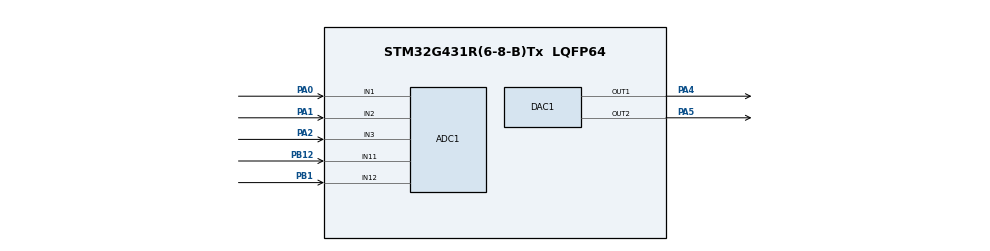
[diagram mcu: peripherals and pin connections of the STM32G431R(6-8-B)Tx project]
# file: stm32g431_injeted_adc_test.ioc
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ADC1.Channel-0\#ChannelRegularConversion=ADC_CHANNEL_1
ADC1.Channel-4\#ChannelRegularConversion=ADC_CHANNEL_2
ADC1.Channel-5\#ChannelRegularConversion=ADC_CHANNEL_3
ADC1.Channel-8\#ChannelRegularConversion=ADC_CHANNEL_11
ADC1.Channel-9\#ChannelRegularConversion=ADC_CHANNEL_12
ADC1.DMAContinuousRequests=ENABLE
ADC1.EOCSelection=ADC_EOC_SEQ_CONV
ADC1.EnableInjectedConversion=ENABLE
ADC1.ExternalTrigConv=ADC_EXTERNALTRIG_T1_TRGO
ADC1.InjNumberOfConversion=2
ADC1.InjectedChannel-6\#ChannelInjectedConversion=ADC_CHANNEL_1
ADC1.InjectedChannel-7\#ChannelInjectedConversion=ADC_CHANNEL_1
ADC1.InjectedOffsetNumber-6\#ChannelInjectedConversion=ADC_OFFSET_NONE
ADC1.InjectedOffsetNumber-7\#ChannelInjectedConversion=ADC_OFFSET_NONE
ADC1.InjectedRank-6\#ChannelInjectedConversion=1
ADC1.InjectedRank-7\#ChannelInjectedConversion=2
ADC1.InjectedSamplingTime-6\#ChannelInjectedConversion=ADC_SAMPLETIME_2CYCLES_5
ADC1.InjectedSamplingTime-7\#ChannelInjectedConversion=ADC_SAMPLETIME_6CYCLES_5
ADC1.NbrOfConversion=5
ADC1.NbrOfConversionFlag=1
ADC1.OffsetNumber-0\#ChannelRegularConversion=ADC_OFFSET_NONE
ADC1.OffsetNumber-4\#ChannelRegularConversion=ADC_OFFSET_NONE
ADC1.OffsetNumber-5\#ChannelRegularConversion=ADC_OFFSET_NONE
ADC1.OffsetNumber-8\#ChannelRegularConversion=ADC_OFFSET_NONE
ADC1.OffsetNumber-9\#ChannelRegularConversion=ADC_OFFSET_NONE
ADC1.Rank-0\#ChannelRegularConversion=1
ADC1.Rank-4\#ChannelRegularConversion=2
ADC1.Rank-5\#ChannelRegularConversion=3
ADC1.Rank-8\#ChannelRegularConversion=4
ADC1.Rank-9\#ChannelRegularConversion=5
ADC1.Rank1_Channel=ADC_CHANNEL_1
ADC1.Rank2_Channel=ADC_CHANNEL_1
ADC1.SamplingTime-0\#ChannelRegularConversion=ADC_SAMPLETIME_2CYCLES_5
ADC1.SamplingTime-4\#ChannelRegularConversion=ADC_SAMPLETIME_2CYCLES_5
ADC1.SamplingTime-5\#ChannelRegularConversion=ADC_SAMPLETIME_2CYCLES_5
ADC1.SamplingTime-8\#ChannelRegularConversion=ADC_SAMPLETIME_2CYCLES_5
ADC1.SamplingTime-9\#ChannelRegularConversion=ADC_SAMPLETIME_2CYCLES_5
ADC1.injectedQueueMode=DISABLE
ADC1.master=1
DAC1.DAC_Channel-DAC_OUT2=DAC_CHANNEL_2
DAC1.DAC_DMADoubleDataMode-DAC_OUT1=DISABLE
DAC1.DAC_HighFrequency_OUT1-DAC_OUT1=DAC_HIGH_FREQUENCY_INTERFACE_MODE_AUTOMATIC
DAC1.DAC_OutputBuffer-DAC_OUT1=DAC_OUTPUTBUFFER_ENABLE
DAC1.DAC_SampleAndHold-DAC_OUT1=DAC_SAMPLEANDHOLD_DISABLE
DAC1.DAC_SignedFormat-DAC_OUT1=DISABLE
DAC1.DAC_Trigger_OUT1-DAC_OUT1=DAC_TRIGGER_T15_TRGO
DAC1.DAC_Trigger_OUT2-DAC_OUT2=DAC_TRIGGER_T8_TRGO
DAC1.DAC_UserTrimming-DAC_OUT1=DAC_TRIMMING_FACTORY
DAC1.TriangleAmplitude_OUT1-DAC_OUT1=DAC_TRIANGLEAMPLITUDE_4095
DAC1.TriangleAmplitude_OUT2-DAC_OUT2=DAC_TRIANGLEAMPLITUDE_4095
DAC1.WaveGeneration_OUT1-DAC_OUT1=TriangleWaveGeneration
DAC1.WaveGeneration_OUT2-DAC_OUT2=TriangleWaveGeneration
Dma.ADC1.0.Direction=DMA_PERIPH_TO_MEMORY
Dma.ADC1.0.EventEnable=DISABLE
Dma.ADC1.0.Instance=DMA1_Channel1
Dma.ADC1.0.MemDataAlignment=DMA_MDATAALIGN_HALFWORD
Dma.ADC1.0.MemInc=DMA_MINC_ENABLE
Dma.ADC1.0.Mode=DMA_CIRCULAR
Dma.ADC1.0.PeriphDataAlignment=DMA_PDATAALIGN_HALFWORD
Dma.ADC1.0.PeriphInc=DMA_PINC_DISABLE
Dma.ADC1.0.Polarity=HAL_DMAMUX_REQ_GEN_RISING
Dma.ADC1.0.Priority=DMA_PRIORITY_LOW
Dma.ADC1.0.RequestNumber=1
Dma.ADC1.0.SignalID=NONE
Dma.ADC1.0.SyncEnable=DISABLE
Dma.ADC1.0.SyncPolarity=HAL_DMAMUX_SYNC_NO_EVENT
Dma.ADC1.0.SyncRequestNumber=1
Dma.ADC1.0.SyncSignalID=NONE
Dma.Request0=ADC1
Mcu.Family=STM32G4
Mcu.Name=STM32G431R(6-8-B)Tx
Mcu.Package=LQFP64
NVIC.ADC1_2_IRQn=true\:0\:0\:false\:false\:true\:true\:true
NVIC.DMA1_Channel1_IRQn=true\:0\:0\:false\:false\:true\:false\:true
NVIC.PriorityGroup=NVIC_PRIORITYGROUP_4
PA0.Mode=IN1-Single-Ended
PA0.Signal=ADC1_IN1
PA1.Mode=IN2-Single-Ended
PA1.Signal=ADC1_IN2
PA2.Mode=IN3-Single-Ended
PA2.Signal=ADC1_IN3
PA4.Signal=COMP_DAC11_group
PA5.Signal=COMP_DAC12_group
PB1.Mode=IN12-Single-Ended
PB1.Signal=ADC1_IN12
PB12.Mode=IN11-Single-Ended
PB12.Signal=ADC1_IN11
ProjectManager.HeapSize=0x200
ProjectManager.StackSize=0x400
ProjectManager.TargetToolchain=MDK-ARM V5
RCC.ADC12CLockSelection=RCC_ADC12CLKSOURCE_PLL
RCC.ADC12Freq_Value=48571428.571428575
RCC.AHBFreq_Value=170000000
RCC.APB1Freq_Value=170000000
RCC.APB1TimFreq_Value=170000000
RCC.APB2Freq_Value=170000000
RCC.APB2TimFreq_Value=170000000
RCC.CortexFreq_Value=170000000
RCC.EXTERNAL_CLOCK_VALUE=12288000
RCC.HCLKFreq_Value=170000000
RCC.HSE_VALUE=8000000
RCC.HSI48_VALUE=48000000
RCC.HSI_VALUE=16000000
RCC.LSE_VALUE=32768
RCC.PLLM=RCC_PLLM_DIV4
RCC.PLLN=85
RCC.PLLP=RCC_PLLP_DIV7
RCC.SYSCLKFreq_VALUE=170000000
RCC.SYSCLKSource=RCC_SYSCLKSOURCE_PLLCLK
RCC.USBFreq_Value=170000000
RCC.VCOOutputFreq_Value=340000000
SH.COMP_DAC11_group.0=DAC1_OUT1,DAC_OUT1
SH.COMP_DAC12_group.0=DAC1_OUT2,DAC_OUT2
TIM1.PeriodNoDither=10
TIM1.Prescaler=100
TIM1.TIM_MasterOutputTrigger=TIM_TRGO_UPDATE
TIM15.PeriodNoDither=1000
TIM15.Prescaler=10
TIM15.TIM_MasterOutputTrigger=TIM_TRGO_UPDATE
TIM8.PeriodNoDither=1200
TIM8.Prescaler=150
TIM8.TIM_MasterOutputTrigger=TIM_TRGO_UPDATE
VP_SYS_VS_DBSignals.Mode=DisableDeadBatterySignals
VP_TIM15_VS_ClockSourceINT.Mode=Internal
VP_TIM1_VS_ClockSourceINT.Mode=Internal
VP_TIM8_VS_ClockSourceINT.Mode=Internal
board=custom

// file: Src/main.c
/* USER CODE BEGIN Header */
/**
  ******************************************************************************
  * @file           : main.c
  * @brief          : Main program body
  ******************************************************************************
  * @attention
  *
  * <h2><center>&copy; Copyright (c) 2020 STMicroelectronics.
  * All rights reserved.</center></h2>
  *
  * This software component is licensed by ST under BSD 3-Clause license,
  * the "License"; You may not use this file except in compliance with the
  * License. You may obtain a copy of the License at:
  *                        opensource.org/licenses/BSD-3-Clause
  *
  ******************************************************************************
  */
/* USER CODE END Header */

#include "main.h"
#include "adc.h"
#include "dac.h"
#include "dma.h"
#include "tim.h"
#include "gpio.h"

/* USER CODE BEGIN PM */
#define VAR_CONVERTED_DATA_INIT_VALUE    (__LL_ADC_DIGITAL_SCALE(LL_ADC_RESOLUTION_12B) + 1)
/* USER CODE END PM */

/* USER CODE BEGIN PV */
static uint16_t aDST_Buffer[5];
__IO uint16_t uhADCxGrpInjectedConvertedSeq = 0;
__IO uint16_t uhADCxGrpInjectedConvertedData[2] = {VAR_CONVERTED_DATA_INIT_VALUE, VAR_CONVERTED_DATA_INIT_VALUE}; /* ADC group injected conversion data */
/* USER CODE END PV */

void SystemClock_Config(void);
/* USER CODE BEGIN PFP */
void Initialize_ADC(void);
void Activate_DAC(void);
/* USER CODE END PFP */

int main(void)
{

  /* MCU Configuration--------------------------------------------------------*/

  /* Reset of all peripherals, Initializes the Flash interface and the Systick. */
  HAL_Init();

  /* Configure the system clock */
  SystemClock_Config();

  /* Initialize all configured peripherals */
  MX_GPIO_Init();
  MX_DMA_Init();
  MX_ADC1_Init();
  MX_DAC1_Init();
  MX_TIM1_Init();
  MX_TIM8_Init();
  MX_TIM15_Init();
  /* USER CODE BEGIN 2 */
	LL_TIM_EnableCounter(TIM1);
	LL_TIM_EnableCounter(TIM15);
	LL_TIM_EnableCounter(TIM8);

	Initialize_ADC();
	Activate_DAC();
	if ((LL_ADC_IsEnabled(ADC1) == 1) &&(LL_ADC_IsDisableOngoing(ADC1) == 0)&&(LL_ADC_REG_IsConversionOngoing(ADC1) == 0))
  {
		LL_ADC_DisableIT_EOC(ADC1);
    LL_ADC_DisableIT_EOS(ADC1);
		LL_ADC_EnableIT_JEOS(ADC1);
    LL_ADC_REG_StartConversion(ADC1);
  }
	else
	{
		Error_Handler();
	}

	/* Set DMA transfer addresses of source and destination */
	LL_DMA_ConfigAddresses(DMA1,
											 LL_DMA_CHANNEL_1,
											 (uint32_t)&ADC1->DR,
											 (uint32_t)&aDST_Buffer,
											 LL_DMA_DIRECTION_PERIPH_TO_MEMORY);

	/* Set DMA transfer size */
  LL_DMA_SetDataLength(DMA1,
                       LL_DMA_CHANNEL_1,
                       5);

  /* Enable DMA transfer complete/error interrupts */
  LL_DMA_EnableIT_TC(DMA1, LL_DMA_CHANNEL_1);
  LL_DMA_EnableIT_TE(DMA1, LL_DMA_CHANNEL_1);

  /* Start the DMA transfer Flash to Memory */
  LL_DMA_EnableChannel(DMA1, LL_DMA_CHANNEL_1);

  /* USER CODE END 2 */

  /* Infinite loop */
  /* USER CODE BEGIN WHILE */
  while (1)
  {
		if((LL_ADC_IsEnabled(ADC1) == 1)               &&
    (LL_ADC_IsDisableOngoing(ADC1) == 0)        &&
    (LL_ADC_INJ_IsConversionOngoing(ADC1) == 0)   )
		{
			uhADCxGrpInjectedConvertedSeq = 0;
			LL_ADC_INJ_StartConversion(ADC1);
		}
		else
		{
			Error_Handler();
		}

		while(uhADCxGrpInjectedConvertedSeq == 0){};

		if(uhADCxGrpInjectedConvertedData[0] < 0x30)
		{
			LL_mDelay(100);
		}
		else
		{
			LL_mDelay(1);
		}
    /* USER CODE END WHILE */

  }
}

void SystemClock_Config(void)
{
  LL_FLASH_SetLatency(LL_FLASH_LATENCY_8);
  LL_PWR_EnableRange1BoostMode();
  LL_RCC_HSI_Enable();

   /* Wait till HSI is ready */
  while(LL_RCC_HSI_IsReady() != 1)
  {

  }
  LL_RCC_HSI_SetCalibTrimming(64);
  LL_RCC_PLL_ConfigDomain_SYS(LL_RCC_PLLSOURCE_HSI, LL_RCC_PLLM_DIV_4, 85, LL_RCC_PLLR_DIV_2);
  LL_RCC_PLL_ConfigDomain_ADC(LL_RCC_PLLSOURCE_HSI, LL_RCC_PLLM_DIV_4, 85, LL_RCC_PLLP_DIV_7);
  LL_RCC_PLL_EnableDomain_SYS();
  LL_RCC_PLL_EnableDomain_ADC();
  LL_RCC_PLL_Enable();

   /* Wait till PLL is ready */
  while(LL_RCC_PLL_IsReady() != 1)
  {

  }
  LL_RCC_SetSysClkSource(LL_RCC_SYS_CLKSOURCE_PLL);
  LL_RCC_SetAHBPrescaler(LL_RCC_SYSCLK_DIV_2);

   /* Wait till System clock is ready */
  while(LL_RCC_GetSysClkSource() != LL_RCC_SYS_CLKSOURCE_STATUS_PLL)
  {

  }
  /* Insure 1?s transition state at intermediate medium speed clock based on DWT */
  CoreDebug->DEMCR |= CoreDebug_DEMCR_TRCENA_Msk;
  DWT->CTRL |= DWT_CTRL_CYCCNTENA_Msk;
  DWT->CYCCNT = 0;
  while(DWT->CYCCNT < 100);
  /* Set AHB prescaler*/
  LL_RCC_SetAHBPrescaler(LL_RCC_SYSCLK_DIV_1);
  LL_RCC_SetAPB1Prescaler(LL_RCC_APB1_DIV_1);
  LL_RCC_SetAPB2Prescaler(LL_RCC_APB1_DIV_1);
  LL_SetSystemCoreClock(170000000);

   /* Update the time base */
  if (HAL_InitTick (TICK_INT_PRIORITY) != HAL_OK)
  {
    Error_Handler();
  };
  LL_RCC_SetADCClockSource(LL_RCC_ADC12_CLKSOURCE_PLL);
}

/* USER CODE BEGIN 4 */
#define ADC_DELAY_CALIB_ENABLE_CPU_CYCLES  (LL_ADC_DELAY_CALIB_ENABLE_ADC_CYCLES * 32)
void Initialize_ADC(void)
{
  __IO uint32_t wait_loop_index2 = 0U;
  #if (USE_TIMEOUT == 1)
  uint32_t Timeout = 0U; /* Variable used for timeout management */
  #endif /* USE_TIMEOUT */

  /*## Operation on ADC hierarchical scope: ADC instance #####################*/

  /* Note: Hardware constraint (refer to description of the functions         */
  /*       below):                                                            */
  /*       On this STM32 serie, setting of these features is conditioned to   */
  /*       ADC state:                                                         */
  /*       ADC must be disabled.                                              */
  /* Note: In this example, all these checks are not necessary but are        */
  /*       implemented anyway to show the best practice usages                */
  /*       corresponding to reference manual procedure.                       */
  /*       Software can be optimized by removing some of these checks, if     */
  /*       they are not relevant considering previous settings and actions    */
  /*       in user application.                                               */
  if (LL_ADC_IsEnabled(ADC1) == 0)
  {
    /* Disable ADC deep power down (enabled by default after reset state) */
    LL_ADC_DisableDeepPowerDown(ADC1);

    /* Enable ADC internal voltage regulator */
    LL_ADC_EnableInternalRegulator(ADC1);

    /* Delay for ADC internal voltage regulator stabilization.                */
    /* Compute number of CPU cycles to wait for, from delay in us.            */
    /* Note: Variable divided by 2 to compensate partially                    */
    /*       CPU processing cycles (depends on compilation optimization).     */
    /* Note: If system core clock frequency is below 200kHz, wait time        */
    /*       is only a few CPU processing cycles.                             */
    wait_loop_index2 = ((LL_ADC_DELAY_INTERNAL_REGUL_STAB_US * (SystemCoreClock / (100000 * 2))) / 10);
    while(wait_loop_index2 != 0)
    {
      wait_loop_index2--;
    }

    /* Run ADC self calibration */
    LL_ADC_StartCalibration(ADC1, LL_ADC_SINGLE_ENDED);

    /* Poll for ADC effectively calibrated */
    #if (USE_TIMEOUT == 1)
    Timeout = ADC_CALIBRATION_TIMEOUT_MS;
    #endif /* USE_TIMEOUT */

    while (LL_ADC_IsCalibrationOnGoing(ADC2) != 0)
    {
    #if (USE_TIMEOUT == 1)
      /* Check Systick counter flag to decrement the time-out value */
      if (LL_SYSTICK_IsActiveCounterFlag())
      {
        if(Timeout-- == 0)
        {
        }
      }
    #endif /* USE_TIMEOUT */
    }

    /* Delay between ADC end of calibration and ADC enable.                   */
    /* Note: Variable divided by 2 to compensate partially                    */
    /*       CPU processing cycles (depends on compilation optimization).     */
    wait_loop_index2 = (ADC_DELAY_CALIB_ENABLE_CPU_CYCLES >> 1);
    while(wait_loop_index2 != 0)
    {
      wait_loop_index2--;
    }

    /* Enable ADC */
    LL_ADC_Enable(ADC1);

    /* Poll for ADC ready to convert */
    #if (USE_TIMEOUT == 1)
    Timeout = ADC_ENABLE_TIMEOUT_MS;
    #endif /* USE_TIMEOUT */

    while (LL_ADC_IsActiveFlag_ADRDY(ADC1) == 0)
    {
    #if (USE_TIMEOUT == 1)
      /* Check Systick counter flag to decrement the time-out value */
      if (LL_SYSTICK_IsActiveCounterFlag())
      {
        if(Timeout-- == 0)
        {
        }
      }
    #endif /* USE_TIMEOUT */
    }

    /* Note: ADC flag ADRDY is not cleared here to be able to check ADC       */
    /*       status afterwards.                                               */
    /*       This flag should be cleared at ADC Deactivation, before a new    */
    /*       ADC activation, using function "LL_ADC_ClearFlag_ADRDY()".       */
  }
  /*## Operation on ADC hierarchical scope: ADC group regular ################*/
  /* Note: No operation on ADC group regular performed here.                  */
  /*       ADC group regular conversions to be performed after this function  */
  /*       using function:                                                    */
  /*       "LL_ADC_REG_StartConversion();"                                    */

  /*## Operation on ADC hierarchical scope: ADC group injected ###############*/
  /* Note: No operation on ADC group injected performed here.                 */
  /*       ADC group injected conversions to be performed after this function */
  /*       using function:                                                    */
  /*       "LL_ADC_INJ_StartConversion();"                                    */

}

void Activate_DAC(void)
{
  __IO uint32_t wait_loop_index = 0;

  /* Enable DAC channel */
  LL_DAC_Enable(DAC1, LL_DAC_CHANNEL_1);
  LL_DAC_Enable(DAC1, LL_DAC_CHANNEL_2);

  /* Delay for DAC channel voltage settling time from DAC channel startup.    */
  /* Compute number of CPU cycles to wait for, from delay in us.              */
  /* Note: Variable divided by 2 to compensate partially                      */
  /*       CPU processing cycles (depends on compilation optimization).       */
  /* Note: If system core clock frequency is below 200kHz, wait time          */
  /*       is only a few CPU processing cycles.                               */
  wait_loop_index = ((LL_DAC_DELAY_STARTUP_VOLTAGE_SETTLING_US * (SystemCoreClock / (100000 * 2))) / 10);
  while(wait_loop_index != 0)
  {
    wait_loop_index--;
  }

  /* Enable DAC channel trigger */
  /* Note: DAC channel conversion can start from trigger enable:              */
  /*       - if DAC channel trigger source is set to SW:                      */
  /*         DAC channel conversion will start after trig order               */
  /*         using function "LL_DAC_TrigSWConversion()".                      */
  /*       - if DAC channel trigger source is set to external trigger         */
  /*         (timer, ...):                                                    */
  /*         DAC channel conversion can start immediately                     */
  /*         (after next trig order from external trigger)                    */
  LL_DAC_EnableTrigger(DAC1, LL_DAC_CHANNEL_1);
  LL_DAC_EnableTrigger(DAC1, LL_DAC_CHANNEL_2);
}
/* USER CODE END 4 */

void Error_Handler(void)
{
  /* USER CODE BEGIN Error_Handler_Debug */
  /* User can add his own implementation to report the HAL error return state */
	while(1);
  /* USER CODE END Error_Handler_Debug */
}

/************************ (C) COPYRIGHT STMicroelectronics *****END OF FILE****/
